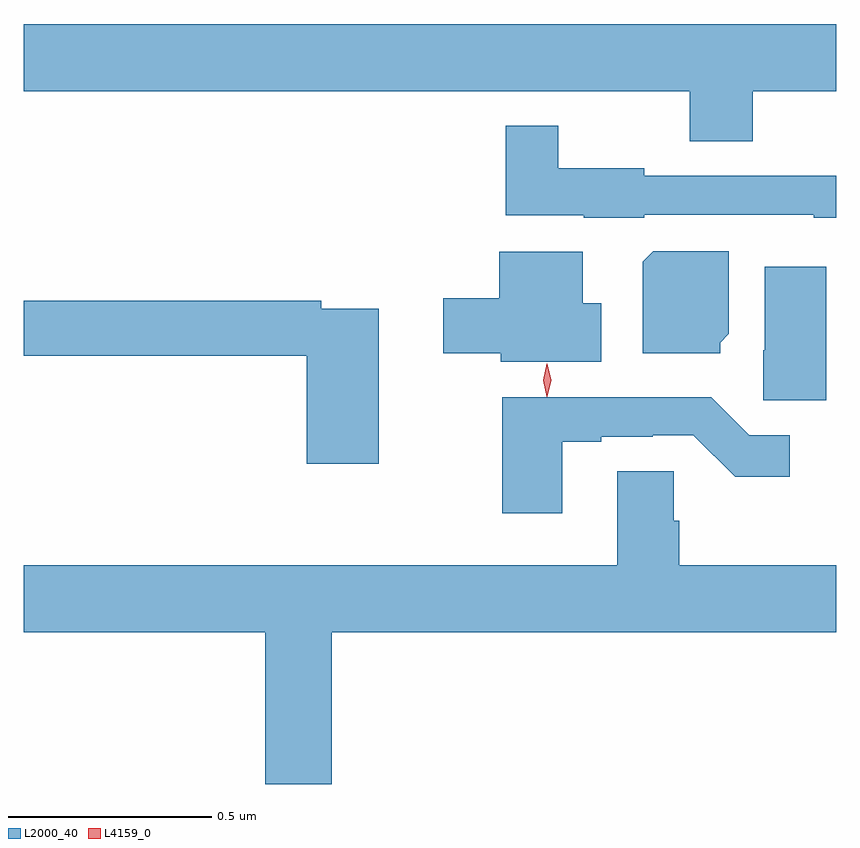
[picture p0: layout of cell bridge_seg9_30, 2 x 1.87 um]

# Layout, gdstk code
import gdstk
lib = gdstk.Library(unit=1e-6, precision=1e-09)
def P(c, l, *ps):  # polygons
    for p in ps: c.add(gdstk.Polygon(p, *l))
L2000_40 = (2000, 40)
L4159_0 = (4159, 0)

bridge_seg9_30 = lib.new_cell('bridge_seg9_30')
P(bridge_seg9_30, L2000_40, [(944.228,1211.237),(944.228,1211.236),(943.634,1211.236),(943.634,1211.072),(945.274,1211.072),(945.274,1210.948),(945.429,1210.948),(945.429,1211.072),(945.634,1211.072),(945.634,1211.236),(944.392,1211.236),(944.392,1211.237)],
  [(945.162,1210.767),(945.579,1210.767),(945.579,1210.76),(945.634,1210.76),(945.634,1210.863),(945.162,1210.863),(945.162,1210.882),(944.95,1210.882),(944.95,1210.987),(944.821,1210.987),(944.821,1210.766),(945.012,1210.766),(945.012,1210.76),(945.162,1210.76)],
  [(945.348,1210.452),(945.37,1210.474),(945.37,1210.678),(945.184,1210.678),(945.158,1210.652),(945.158,1210.427),(945.348,1210.427)],
  [(945.055,1210.549),(945.01,1210.549),(945.01,1210.676),(944.804,1210.676),(944.804,1210.562),(944.667,1210.562),(944.667,1210.427),(944.808,1210.427),(944.808,1210.406),(945.055,1210.406)],
  [(945.61,1210.639),(945.458,1210.639),(945.458,1210.434),(945.454,1210.434),(945.454,1210.311),(945.61,1210.311)],
  [(944.508,1210.536),(944.366,1210.536),(944.366,1210.556),(943.634,1210.556),(943.634,1210.42),(944.33,1210.42),(944.33,1210.155),(944.508,1210.155)],
  [(944.959,1210.209),(945.055,1210.209),(945.055,1210.221),(945.182,1210.221),(945.182,1210.224),(945.282,1210.224),(945.385,1210.122),(945.52,1210.122),(945.52,1210.224),(945.42,1210.224),(945.326,1210.318),(944.812,1210.318),(944.812,1210.032),(944.959,1210.032)],
  [(944.392,1209.74),(945.634,1209.74),(945.634,1209.904),(945.248,1209.904),(945.248,1210.014),(945.234,1210.014),(945.234,1210.136),(945.095,1210.136),(945.095,1209.904),(943.634,1209.904),(943.634,1209.74),(944.228,1209.74),(944.228,1209.366),(944.392,1209.366)])
P(bridge_seg9_30, L4159_0, [(944.922,1210.319),(944.922,1210.319),(944.913,1210.36),(944.922,1210.401),(944.923,1210.401),(944.923,1210.401),(944.932,1210.36),(944.923,1210.319)])

lib.write_gds('bridge_seg9_30.gds')
